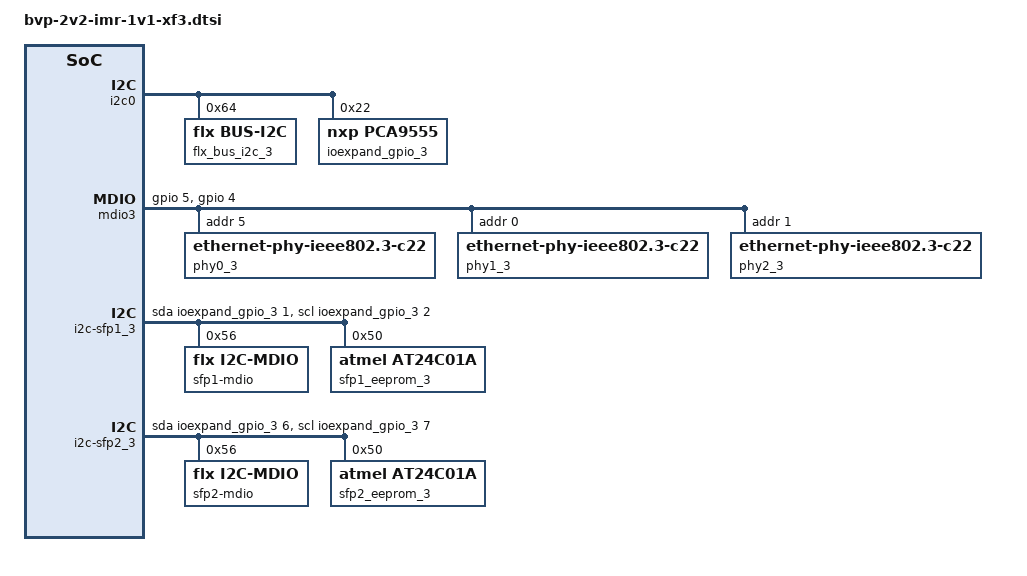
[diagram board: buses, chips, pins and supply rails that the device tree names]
/ {
	aliases {
		mdio-gpio3 = &mdio3;
	};
};

&i2c0 {
    // Access to XRS via I2C
    flx_bus_i2c_3: flx_bus@64 {
        #address-cells = <1>;
        #size-cells = <1>;
        compatible = "flx,bus-i2c";
        reg = <0x64>;

        xrs_3@0 {
            compatible = "flx,xrs";
            reg = <0x0 0xa>;

            // The following could be used instead of flx_xrs_guard. 
            // GPIO signal for power OK, optional
            // power-ok = <&gpio 42 0>;
            // GPIO signal for reset, optional 
            reset = <&gpio 45 0>;
            // Interrupt to enable via sysfs, optional           
            interrupt-parent = <&gpio>;
            interrupts = <6 8>;            
        };

        flx_gpio_behind_i2c_3: gpio_3@10000 {
            compatible = "flx,gpio";
            reg = <0x10000 0x1100>;

            gpio-controller;
            #gpio-cells = <2>;
            width = <0x14>;
        };

        // rtc_3@280000 {
        //     compatible = "flx,rtc";
        //     reg = <0x280000 0x10000>;
        //     /* Step size in nanoseconds and subnanoseconds */
        //     step-size = <8 0>;
        // };

        rs_behind_i2c_3: rs_3@300000 {
            #address-cells = <1>;
            #size-cells = <1>;
            compatible = "flx,rs";
            // Switch registers
            reg = <0x300000 0x8000>;
            interrupt-parent = <&gpio>;
            interrupts = <6 8>;
            mac_name = "xf3";
            port0@200000 {
                if_name = "SE21";
                // 0=none 1=SFP 2=PHY 5=NOPHY
                medium_type = <2>;
                cpu-port;
                // port and port adapter registers
                reg = <0x200000 0x10000>;
                phy-handle = <&phy0_3>;
                phy-mode = "rmii";
                //auto-speed-select;
            };
            port1@210000 {
                if_name = "CE22";
                medium_type = <1>;
                reg = <0x210000 0x10000>;
                phy-handle = <&phy1_3>;
                phy-mode = "rgmii-id";
                //auto-speed-select;
                sfp-eeprom = <&sfp2_eeprom_3>;
                sfp-phy-handle = <&sfp2_phy_3>;
            };
            port2@220000 {
                if_name = "CE21";
                medium_type = <1>;
                reg = <0x220000 0x10000>;
                phy-handle = <&phy2_3>;
                phy-mode = "rgmii-id";
                //auto-speed-select;
                sfp-eeprom = <&sfp1_eeprom_3>;
                sfp-phy-handle = <&sfp1_phy_3>;
            };
        };

        // ts_3@290000 {
        //     compatible = "flx,ts";
        //     reg = <0x00290000 0x1200>;
        //     interrupt-parent = <&gpio>;
        //     interrupts = <6 8>;
        // };

        // ts_3@298000 {
        //     compatible = "flx,ts";
        //     reg = <0x00298000 0x1200>;
        //     interrupt-parent = <&gpio>;
        //     interrupts = <6 8>;
        // };

        // ts_3@2a0000 {
        //     compatible = "flx,ts";
        //     reg = <0x002a0000 0x1200>;
        //     interrupt-parent = <&gpio>;
        //     interrupts = <6 8>;
        // };

        // ts_3@2a8000 {
        //     compatible = "flx,ts";
        //     reg = <0x002a8000 0x1200>;
        //     interrupt-parent = <&gpio>;
        //     interrupts = <6 8>;
        // };
    };

    ioexpand_gpio_3: pca9555@22 {
        compatible = "nxp,pca9555";
        reg = <0x22>;

        gpio-controller;
        #gpio-cells = <2>;
    };
};

&gpio {
	mdio3_pins: mdio3 {
		brcm,pins = <5 4>;		// MDC, MDIO 
		brcm,function = <1 0>;
	};
};

&soc {
	mdio3: mdio3 {
		compatible = "virtual,mdio-gpio";
		#address-cells = <1>;
		#size-cells = <0>;
		pinctrl-names = "default";
		pinctrl-0 = <&mdio3_pins>;
		// MDC and MDIO, in that order
		gpios = <   &gpio 5 0 
                    &gpio 4 0>;

        // PHY for FRS port 0
        phy0_3: mdio3_phy@5 {
            compatible = "ethernet-phy-ieee802.3-c22";
            reg = <0x5>;
        };
        // PHY for FRS port 1
        phy1_3: mdio3_phy@1 {
            compatible = "ethernet-phy-ieee802.3-c22";
            reg = <0x0>;
            // Enable RCLK to CLK125 pin
            marvell,reg-init = <2 16 0xffff 0x0001>;
        };
        // PHY for FRS port 2
        phy2_3: mdio3_phy@0 {
            compatible = "ethernet-phy-ieee802.3-c22";
            reg = <0x1>;
            // Enable RCLK to CLK125 pin
            marvell,reg-init = <2 16 0xffff 0x0001>;
        };
	};

    // I2C bus to SFP1
    i2c-sfp1_3 {
        compatible = "i2c-gpio";
        #address-cells = <1>;
        #size-cells = <0>;
        // SDA and SCL
        gpios = <   &ioexpand_gpio_3 1 0
                    &ioexpand_gpio_3 2 0>;

        // Hw is not open-drain, it can drive high.
        // So must not use xxx-open-drain here.
        // Enable clock stretching by not using setting output-only
        //i2c-gpio,sda-open-drain;
        //i2c-gpio,scl-open-drain;
        //i2c-gpio,scl-output-only;
        i2c-gpio,delay-us = <5>;
        i2c-gpio,timeout-ms = <100>;

        // I2C slave: PHY in SFP
        sfp1-mdio@56 {
            #address-cells = <1>;
            #size-cells = <0>;
            compatible = "flx,i2c-mdio";
            reg = <0x56>;

            // PHY device on virtual MDIO bus
            sfp1_phy_3: sfp1-phy@16 {
                compatible = "ethernet-phy-ieee802.3-c22";
                // I2C slave address 0xac with write bit,
                // actual I2C slave address 0x56,
                // PHY address 0x16
                reg = <0x16>;
            };
        };

        // I2C slave: EEPROM in SFP
        sfp1_eeprom_3: sfp1-eeprom@50 {
            compatible = "atmel,at24c01a";
            reg = <0x50>;
        };
    };

    // I2C bus to SFP2
    i2c-sfp2_3 {
        compatible = "i2c-gpio";
        #address-cells = <1>;
        #size-cells = <0>;
        // SDA and SCL 
        gpios = <   &ioexpand_gpio_3 6 0
                    &ioexpand_gpio_3 7 0>;

        // Hw is not open-drain, it can drive high.
        // So must not use xxx-open-drain here.
        // Enable clock stretching by not using setting output-only.
        //i2c-gpio,sda-open-drain;
        //i2c-gpio,scl-open-drain;
        //i2c-gpio,scl-output-only;
        i2c-gpio,delay-us = <5>;
        i2c-gpio,timeout-ms = <100>;

        // I2C slave: PHY in SFP
        sfp2-mdio@56 {
            #address-cells = <1>;
            #size-cells = <0>;
            compatible = "flx,i2c-mdio";
            reg = <0x56>;

            // PHY device on virtual MDIO bus
            sfp2_phy_3: sfp2-phy@16 {
                compatible = "ethernet-phy-ieee802.3-c22";
                // I2C slave address 0xac with write bit,
                // actual I2C slave address 0x56,
                // PHY address 0x16
                reg = <0x16>;
            };
        };

        // I2C slave: EEPROM in SFP
        sfp2_eeprom_3: sfp2-eeprom@50 {
            compatible = "atmel,at24c01a";
            reg = <0x50>;
        };
    };
};

